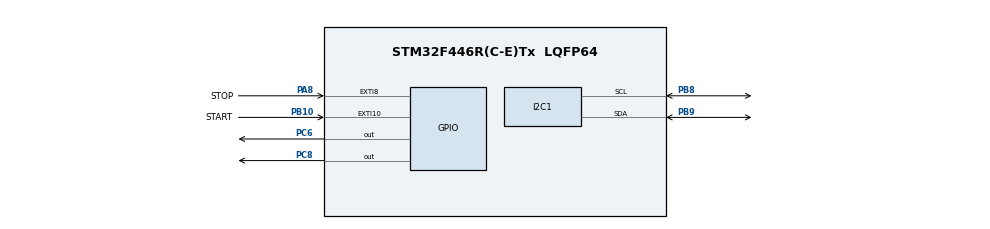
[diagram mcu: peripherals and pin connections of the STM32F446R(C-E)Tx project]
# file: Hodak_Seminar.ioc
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Mcu.Family=STM32F4
Mcu.Name=STM32F446R(C-E)Tx
Mcu.Package=LQFP64
NVIC.EXTI15_10_IRQn=true\:2\:0\:true\:false\:true\:true\:true\:true
NVIC.EXTI9_5_IRQn=true\:2\:0\:true\:false\:true\:true\:true\:true
NVIC.PriorityGroup=NVIC_PRIORITYGROUP_4
NVIC.TIM6_DAC_IRQn=true\:3\:0\:true\:false\:true\:true\:true\:true
NVIC.TIM7_IRQn=true\:3\:0\:true\:false\:true\:true\:true\:true
NVIC.TIM8_TRG_COM_TIM14_IRQn=true\:0\:0\:true\:false\:true\:true\:true\:true
PA13.Mode=Serial_Wire
PA13.Signal=SYS_JTMS-SWDIO
PA14.Mode=Serial_Wire
PA14.Signal=SYS_JTCK-SWCLK
PA8.GPIO_Label=STOP
PA8.GPIO_ModeDefaultEXTI=GPIO_MODE_IT_FALLING
PA8.GPIO_PuPd=GPIO_PULLUP
PA8.Signal=GPXTI8
PB10.GPIO_Label=START
PB10.GPIO_ModeDefaultEXTI=GPIO_MODE_IT_FALLING
PB10.GPIO_PuPd=GPIO_PULLUP
PB10.Signal=GPXTI10
PB8.Mode=I2C
PB8.Signal=I2C1_SCL
PB9.Mode=I2C
PB9.Signal=I2C1_SDA
PC6.Signal=GPIO_Output
PC8.Signal=GPIO_Output
ProjectManager.HeapSize=0x200
ProjectManager.StackSize=0x400
ProjectManager.TargetToolchain=STM32CubeIDE
RCC.CortexFreq_Value=16000000
RCC.USBFreq_Value=96000000
RCC.VCOOutputFreq_Value=192000000
TIM14.Period=999
TIM14.Prescaler=15999
TIM6.Period=499
TIM6.Prescaler=15999
TIM7.Period=14999
TIM7.Prescaler=63999
VP_TIM14_VS_ClockSourceINT.Mode=Enable_Timer
VP_TIM6_VS_ClockSourceINT.Mode=Enable_Timer
VP_TIM7_VS_ClockSourceINT.Mode=Enable_Timer
board=custom

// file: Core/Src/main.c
/* USER CODE BEGIN Header */
/**
  ******************************************************************************
  * @file           : main.c
  * @brief          : Main program body
  ******************************************************************************
  * @attention
  *
  * Copyright (c) 2025 STMicroelectronics.
  * All rights reserved.
  *
  * This software is licensed under terms that can be found in the LICENSE file
  * in the root directory of this software component.
  * If no LICENSE file comes with this software, it is provided AS-IS.
  *
  ******************************************************************************
  */
/* USER CODE END Header */
#include "main.h"
#include "i2c.h"
#include "tim.h"
#include "gpio.h"

/* USER CODE BEGIN Includes */
#include "stm32f4xx_hal.h"
/* USER CODE END Includes */

void SystemClock_Config(void);

/* USER CODE BEGIN 0 */
uint16_t i = 0;
uint16_t j = 0;
uint16_t k = 0;
char num1[2];
char num2[1];
char num3[1];
/* USER CODE END 0 */

int main(void)
{

  /* MCU Configuration--------------------------------------------------------*/

  /* Reset of all peripherals, Initializes the Flash interface and the Systick. */
  HAL_Init();

  /* Configure the system clock */
  SystemClock_Config();

  /* Initialize all configured peripherals */
  MX_GPIO_Init();
  MX_TIM6_Init();
  MX_TIM7_Init();
  MX_I2C1_Init();
  MX_TIM14_Init();
  /* USER CODE BEGIN 2 */
  HD44780_Init(2);
  HD44780_Clear();

  /* USER CODE END 2 */

  /* Infinite loop */
  /* USER CODE BEGIN WHILE */
  while (1)
  {

	  itoa(i, num1, 10);
	  itoa(j, num2, 10);
	  itoa(k, num3, 10);

	  HD44780_SetCursor(7,1);
	  HD44780_PrintStr(":");
	  HD44780_SetCursor(8,1);
	  HD44780_PrintStr(num3);
	  HD44780_SetCursor(9,1);
	  HD44780_PrintStr(num1);
	  HD44780_SetCursor(6,1);
	  HD44780_PrintStr(num2);
    /* USER CODE END WHILE */

  }
}

void SystemClock_Config(void)
{
  RCC_OscInitTypeDef RCC_OscInitStruct = {0};
  RCC_ClkInitTypeDef RCC_ClkInitStruct = {0};

  /** Configure the main internal regulator output voltage
  */
  __HAL_RCC_PWR_CLK_ENABLE();
  __HAL_PWR_VOLTAGESCALING_CONFIG(PWR_REGULATOR_VOLTAGE_SCALE3);

  /** Initializes the RCC Oscillators according to the specified parameters
  * in the RCC_OscInitTypeDef structure.
  */
  RCC_OscInitStruct.OscillatorType = RCC_OSCILLATORTYPE_HSI;
  RCC_OscInitStruct.HSIState = RCC_HSI_ON;
  RCC_OscInitStruct.HSICalibrationValue = RCC_HSICALIBRATION_DEFAULT;
  RCC_OscInitStruct.PLL.PLLState = RCC_PLL_NONE;
  if (HAL_RCC_OscConfig(&RCC_OscInitStruct) != HAL_OK)
  {
    Error_Handler();
  }

  /** Initializes the CPU, AHB and APB buses clocks
  */
  RCC_ClkInitStruct.ClockType = RCC_CLOCKTYPE_HCLK|RCC_CLOCKTYPE_SYSCLK
                              |RCC_CLOCKTYPE_PCLK1|RCC_CLOCKTYPE_PCLK2;
  RCC_ClkInitStruct.SYSCLKSource = RCC_SYSCLKSOURCE_HSI;
  RCC_ClkInitStruct.AHBCLKDivider = RCC_SYSCLK_DIV1;
  RCC_ClkInitStruct.APB1CLKDivider = RCC_HCLK_DIV1;
  RCC_ClkInitStruct.APB2CLKDivider = RCC_HCLK_DIV1;

  if (HAL_RCC_ClockConfig(&RCC_ClkInitStruct, FLASH_LATENCY_0) != HAL_OK)
  {
    Error_Handler();
  }
}

/* USER CODE BEGIN 4 */
void HAL_TIM_PeriodElapsedHalfCallback(TIM_HandleTypeDef *htim)
{
  /* Prevent unused argument(s) compilation warning */

  /* NOTE : This function should not be modified, when the callback is needed,
            the HAL_TIM_PeriodElapsedHalfCpltCallback could be implemented in the user file
   */
}
void HAL_TIM_PeriodElapsedCallback(TIM_HandleTypeDef *htim)
{
	if(htim->Instance == TIM14)
	{
		i=i+1;
		if(i==10)
		{
			i=0;
			k=k+1;
			if(k==6)
				{
					k=0;
				}
		}
	}
	if(htim->Instance == TIM6)
		{
			HAL_GPIO_TogglePin(GPIOC, GPIO_PIN_6);
			if(i%2==0)
			{
				if(HAL_GPIO_ReadPin(GPIOC, GPIO_PIN_8) == 1)
				{
					HAL_GPIO_TogglePin(GPIOC, GPIO_PIN_8);
				}
			}
		}

	if(htim->Instance == TIM7)
	{
		j = j + 1;
		HAL_GPIO_TogglePin(GPIOC, GPIO_PIN_8);
	}

}
void HAL_GPIO_EXTI_Callback(uint16_t GPIO_Pin)
{
	if(GPIO_Pin==GPIO_PIN_10)
	{

		__HAL_TIM_CLEAR_IT(&htim7, TIM_IT_UPDATE);
		__HAL_TIM_CLEAR_IT(&htim14, TIM_IT_UPDATE);
		HAL_TIM_Base_Start_IT(&htim6);
		HAL_TIM_Base_Start_IT(&htim7);
		HAL_TIM_Base_Start_IT(&htim14);
	}
	if(GPIO_Pin==GPIO_PIN_8)
	{
		HAL_TIM_Base_Stop_IT(&htim6);
		HAL_TIM_Base_Stop_IT(&htim7);
		HAL_TIM_Base_Stop_IT(&htim14);
	}

}

/* USER CODE END 4 */

void Error_Handler(void)
{
  __disable_irq();
  while (1)
  {
  }
}
